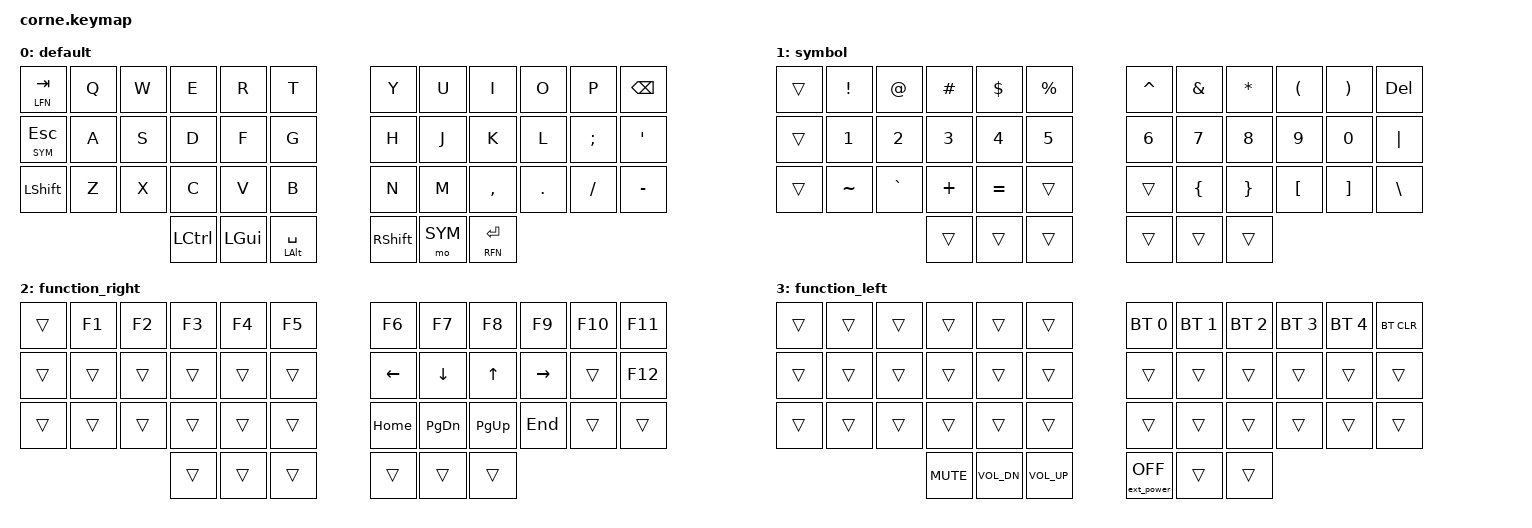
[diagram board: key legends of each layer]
/*
 * Copyright (c) 2020 The ZMK Contributors
 *
 * SPDX-License-Identifier: MIT
 */

#include <behaviors.dtsi>
#include <dt-bindings/zmk/keys.h>
#include <dt-bindings/zmk/bt.h>
#include <dt-bindings/zmk/ext_power.h>

#define DEFAULT 0
#define SYM 1
#define RFN 2
#define LFN 3

/ {
        keymap {
                compatible = "zmk,keymap";

                default {
                        bindings = <
   &lt LFN TAB  &kp Q &kp W &kp E      &kp R      &kp T           &kp Y     &kp U     &kp I         &kp O   &kp P    &kp BSPC
   &lt SYM ESC  &kp A &kp S &kp D      &kp F      &kp G           &kp H     &kp J     &kp K         &kp L   &kp SEMI &kp APOS
   &kp LSHFT    &kp Z &kp X &kp C      &kp V      &kp B           &kp N     &kp M     &kp COMMA     &kp DOT &kp FSLH &kp MINUS
                            &kp LCTRL  &kp LGUI   &mt LALT SPACE  &kp RSHFT &mo SYM   &lt RFN ENTER
                        >;
                };

                symbol {
                        bindings = <
   &trans     &kp EXCL     &kp AT     &kp HASH     &kp DOLLAR   &kp PERCENT       &kp CARET &kp AMPS  &kp STAR  &kp LPAR  &kp RPAR  &kp DEL
   &trans     &kp N1       &kp N2     &kp N3       &kp N4       &kp N5            &kp N6    &kp N7    &kp N8    &kp N9    &kp N0    &kp PIPE
   &trans     &kp TILDE    &kp GRAVE  &kp PLUS     &kp EQUAL    &trans            &trans    &kp LBRC  &kp RBRC  &kp LBKT  &kp RBKT  &kp BSLH
                                      &trans       &trans       &trans            &trans    &trans    &trans
                        >;
                };

                function_right {
                        bindings = <
   &trans &kp F1    &kp F2    &kp F3     &kp F4       &kp F5       &kp F6   &kp F7    &kp F8     &kp F9     &kp F10      &kp F11
   &trans &trans    &trans    &trans     &trans       &trans       &kp LEFT &kp DOWN  &kp UP     &kp RIGHT  &trans       &kp F12
   &trans &trans    &trans    &trans     &trans       &trans       &kp HOME &kp PG_DN &kp PG_UP  &kp END    &trans       &trans 
                              &trans     &trans       &trans       &trans   &trans    &trans
                        >;
                };

                function_left {
                        bindings = <
   &trans &trans &trans &trans     &trans       &trans       &bt BT_SEL 0      &bt BT_SEL 1 &bt BT_SEL 2 &bt BT_SEL 3 &bt BT_SEL 4 &bt BT_CLR
   &trans &trans &trans &trans     &trans       &trans       &trans            &trans       &trans       &trans       &trans       &trans 
   &trans &trans &trans &trans     &trans       &trans       &trans            &trans       &trans       &trans       &trans       &trans 
                        &kp C_MUTE &kp C_VOL_DN &kp C_VOL_UP &ext_power EP_OFF &trans       &trans
                        >;
                };
        };
};

